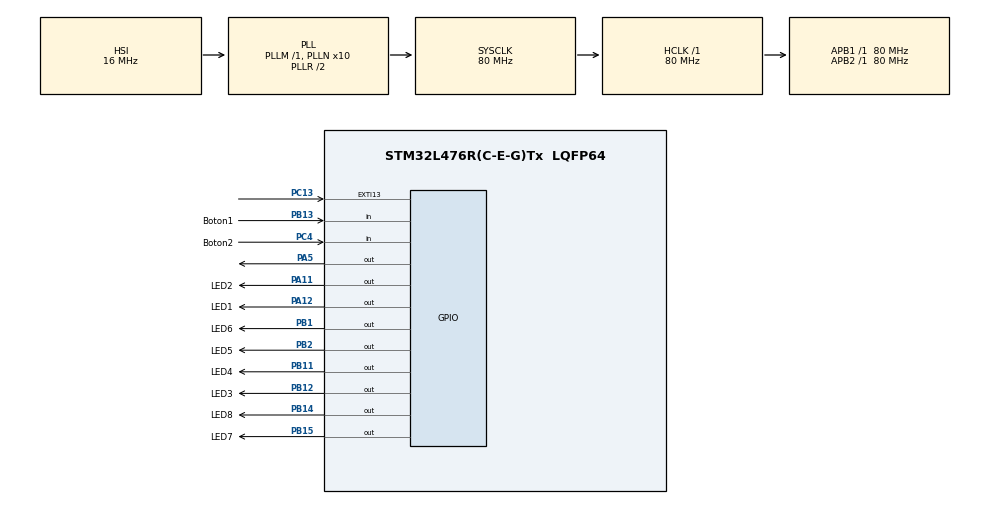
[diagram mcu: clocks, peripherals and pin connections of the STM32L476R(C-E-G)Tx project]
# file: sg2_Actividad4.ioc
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Mcu.Family=STM32L4
Mcu.Name=STM32L476R(C-E-G)Tx
Mcu.Package=LQFP64
NUCLEO-L476RG.BUTTON=1
NUCLEO-L476RG.LD2=true
NVIC.EXTI15_10_IRQn=true\:0\:0\:false\:false\:true\:true\:true\:true
NVIC.PriorityGroup=NVIC_PRIORITYGROUP_4
PA11.GPIO_Label=LED2
PA11.GPIO_ModeDefaultOutputPP=GPIO_MODE_OUTPUT_PP
PA11.GPIO_PuPd=GPIO_NOPULL
PA11.GPIO_Speed=GPIO_SPEED_FREQ_LOW
PA11.Signal=GPIO_Output
PA12.GPIO_Label=LED1
PA12.Signal=GPIO_Output
PA13\ (JTMS-SWDIO).GPIO_Label=TMS
PA13\ (JTMS-SWDIO).Signal=SYS_JTMS-SWDIO
PA14\ (JTCK-SWCLK).GPIO_Label=TCK
PA14\ (JTCK-SWCLK).Signal=SYS_JTCK-SWCLK
PA2.GPIO_Label=USART_TX
PA2.GPIO_Mode=GPIO_MODE_AF_PP
PA2.GPIO_PuPd=GPIO_NOPULL
PA2.GPIO_Speed=GPIO_SPEED_FREQ_VERY_HIGH
PA2.Signal=USART2_TX
PA3.GPIO_Label=USART_RX
PA3.GPIO_Mode=GPIO_MODE_AF_PP
PA3.GPIO_PuPd=GPIO_NOPULL
PA3.GPIO_Speed=GPIO_SPEED_FREQ_VERY_HIGH
PA3.Signal=USART2_RX
PA5.Signal=GPIO_Output
PB1.GPIO_Label=LED6
PB1.Signal=GPIO_Output
PB11.GPIO_Label=LED4
PB11.Signal=GPIO_Output
PB12.GPIO_Label=LED3
PB12.Signal=GPIO_Output
PB13.GPIO_Label=Boton1
PB13.Signal=GPIO_Input
PB14.GPIO_Label=LED8
PB14.Signal=GPIO_Output
PB15.GPIO_Label=LED7
PB15.Signal=GPIO_Output
PB2.GPIO_Label=LED5
PB2.Signal=GPIO_Output
PB3\ (JTDO-TRACESWO).GPIO_Label=SWO
PB3\ (JTDO-TRACESWO).Signal=SYS_JTDO-SWO
PC13.Signal=GPXTI13
PC14-OSC32_IN\ (PC14).Signal=RCC_OSC32_IN
PC15-OSC32_OUT\ (PC15).Signal=RCC_OSC32_OUT
PC4.GPIO_Label=Boton2
PC4.Signal=GPIO_Input
PH0-OSC_IN\ (PH0).Signal=RCC_OSC_IN
PH1-OSC_OUT\ (PH1).Signal=RCC_OSC_OUT
ProjectManager.HeapSize=0x200
ProjectManager.StackSize=0x400
ProjectManager.TargetToolchain=STM32CubeIDE
RCC.ADCFreq_Value=64000000
RCC.AHBFreq_Value=80000000
RCC.APB1Freq_Value=80000000
RCC.APB1TimFreq_Value=80000000
RCC.APB2Freq_Value=80000000
RCC.APB2TimFreq_Value=80000000
RCC.CortexFreq_Value=80000000
RCC.HCLKFreq_Value=80000000
RCC.HSE_VALUE=8000000
RCC.HSI_VALUE=16000000
RCC.LSE_VALUE=32768
RCC.MSI_VALUE=4000000
RCC.PLLN=10
RCC.PLLSourceVirtual=RCC_PLLSOURCE_HSI
RCC.PREFETCH_ENABLE=1
RCC.SYSCLKFreq_VALUE=80000000
RCC.SYSCLKSource=RCC_SYSCLKSOURCE_PLLCLK
RCC.USBFreq_Value=64000000
RCC.VCOOutputFreq_Value=160000000
VP_NUCLEO-L476RG_VS_BSP_COMMON.Mode=COMMON
board=NUCLEO-L476RG

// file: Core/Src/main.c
/* USER CODE BEGIN Header */
/**
  ******************************************************************************
  * @file           : main.c
  * @brief          : Main program body
  ******************************************************************************
  * @attention
  *
  * Copyright (c) 2026 STMicroelectronics.
  * All rights reserved.
  *
  * This software is licensed under terms that can be found in the LICENSE file
  * in the root directory of this software component.
  * If no LICENSE file comes with this software, it is provided AS-IS.
  *
  ******************************************************************************
  */
/* USER CODE END Header */
#include "main.h"
#include "gpio.h"

/* USER CODE BEGIN Includes */
#include "interrupciones.h"
/* USER CODE END Includes */

/* USER CODE BEGIN PD */
#define RETARDO 1
/* USER CODE END PD */

void SystemClock_Config(void);

/* USER CODE BEGIN 0 */
void EscribirPines(char LED){
			HAL_GPIO_WritePin(GPIOA, LED1_Pin, BIT_READ(LED, 0));
		  HAL_GPIO_WritePin(GPIOA, LED2_Pin, BIT_READ(LED, 1));
		  HAL_GPIO_WritePin(GPIOB, LED3_Pin, BIT_READ(LED, 2));
		  HAL_GPIO_WritePin(GPIOB, LED4_Pin, BIT_READ(LED, 3));
		  HAL_GPIO_WritePin(GPIOB, LED5_Pin, BIT_READ(LED, 4));
		  HAL_GPIO_WritePin(GPIOB, LED6_Pin, BIT_READ(LED, 5));
		  HAL_GPIO_WritePin(GPIOB, LED7_Pin, BIT_READ(LED, 6));
		  HAL_GPIO_WritePin(GPIOB, LED8_Pin, BIT_READ(LED, 7));

}

volatile char Partida = 0;

void PartidaToggle(void){
	Partida ^= 1;
}
/* USER CODE END 0 */

int main(void)
{

  /* MCU Configuration--------------------------------------------------------*/

  /* Reset of all peripherals, Initializes the Flash interface and the Systick. */
  HAL_Init();

  /* Configure the system clock */
  SystemClock_Config();

  /* Initialize all configured peripherals */
  MX_GPIO_Init();
  /* USER CODE BEGIN 2 */
  volatile enum _State {Parpadear, ShifterR, ShifterL, TodosParpadean};
  volatile enum _State State, State_n;
  State = Parpadear;
  State_n = Parpadear;

  volatile char Boton1,Boton2,boton_start_previo,boton_start;
  boton_start_previo = 1;
  volatile char LED   = 0b11110000;
  volatile char LED_state = LED;
  EscribirPines(LED);
  /* USER CODE END 2 */

  /* Initialize leds */
  BSP_LED_Init(LED_GREEN);

  /* Initialize USER push-button, will be used to trigger an interrupt each time it's pressed.*/
  BSP_PB_Init(BUTTON_USER, BUTTON_MODE_EXTI);

  /* Infinite loop */
  /* USER CODE BEGIN WHILE */
  while (1)
  {
	  //boton_start = HAL_GPIO_ReadPin(GPIOC, GPIO_PIN_13);
	  Boton1 = HAL_GPIO_ReadPin(Boton1_GPIO_Port, Boton1_Pin);
	  Boton2 = HAL_GPIO_ReadPin(Boton2_GPIO_Port, Boton2_Pin);

	  if(Partida){

		  switch(State){
			  case Parpadear:
				  LED ^= LED_state;
					  break;
			  case ShifterR:
				  if(BIT_READ(LED_state,0)){
					  LED_state = LED_state >> 1u;
					  BIT_SET(LED_state, 7);
				  }else{
					  LED_state = LED_state >> 1u;
					  BIT_CLEAR(LED_state, 7);
				  }
				  LED = LED_state;
					  break;
			  case ShifterL:

				  if(BIT_READ(LED_state,7)){
					  LED_state = LED_state << 1u;
					  BIT_SET(LED_state, 0);
				  }else{
					  LED_state = LED_state << 1u;
					  BIT_CLEAR(LED_state, 0);
				  }
				  LED = LED_state;
					  break;
			  case TodosParpadean:
				  if(LED & 0xFF){
					  LED = 0x00;
				  }else{
					  LED = 0xFF;
				  }
					  break;
			  default:
				  Partida = 0;
				  break;
		  }
		  HAL_Delay(RETARDO);
		  EscribirPines(LED);

		  if(!Boton1 && !Boton2){
			  State_n = Parpadear;
		  }else if(Boton1 && !Boton2){
			  State_n = ShifterR;
		  }else if(!Boton1 && Boton2){
			  State_n = ShifterL;
		  }else if(Boton1 && Boton2){
			  State_n = TodosParpadean;
		  }

		  if(State_n != State){
			  State = State_n;
			  LED = LED_state;
			  EscribirPines(LED_state);
		  }

	  }

	  //if(boton_start_previo && (!boton_start)){
		//  BIT_TOGGLE(Partida, 0);
		  //LED = LED_state;
		  //EscribirPines(LED_state);
	  //}
	  //boton_start_previo = boton_start;

    /* USER CODE END WHILE */

  }
}

void SystemClock_Config(void)
{
  RCC_OscInitTypeDef RCC_OscInitStruct = {0};
  RCC_ClkInitTypeDef RCC_ClkInitStruct = {0};

  /** Configure the main internal regulator output voltage
  */
  if (HAL_PWREx_ControlVoltageScaling(PWR_REGULATOR_VOLTAGE_SCALE1) != HAL_OK)
  {
    Error_Handler();
  }

  /** Initializes the RCC Oscillators according to the specified parameters
  * in the RCC_OscInitTypeDef structure.
  */
  RCC_OscInitStruct.OscillatorType = RCC_OSCILLATORTYPE_HSI;
  RCC_OscInitStruct.HSIState = RCC_HSI_ON;
  RCC_OscInitStruct.HSICalibrationValue = RCC_HSICALIBRATION_DEFAULT;
  RCC_OscInitStruct.PLL.PLLState = RCC_PLL_ON;
  RCC_OscInitStruct.PLL.PLLSource = RCC_PLLSOURCE_HSI;
  RCC_OscInitStruct.PLL.PLLM = 1;
  RCC_OscInitStruct.PLL.PLLN = 10;
  RCC_OscInitStruct.PLL.PLLP = RCC_PLLP_DIV7;
  RCC_OscInitStruct.PLL.PLLQ = RCC_PLLQ_DIV2;
  RCC_OscInitStruct.PLL.PLLR = RCC_PLLR_DIV2;
  if (HAL_RCC_OscConfig(&RCC_OscInitStruct) != HAL_OK)
  {
    Error_Handler();
  }

  /** Initializes the CPU, AHB and APB buses clocks
  */
  RCC_ClkInitStruct.ClockType = RCC_CLOCKTYPE_HCLK|RCC_CLOCKTYPE_SYSCLK
                              |RCC_CLOCKTYPE_PCLK1|RCC_CLOCKTYPE_PCLK2;
  RCC_ClkInitStruct.SYSCLKSource = RCC_SYSCLKSOURCE_PLLCLK;
  RCC_ClkInitStruct.AHBCLKDivider = RCC_SYSCLK_DIV1;
  RCC_ClkInitStruct.APB1CLKDivider = RCC_HCLK_DIV1;
  RCC_ClkInitStruct.APB2CLKDivider = RCC_HCLK_DIV1;

  if (HAL_RCC_ClockConfig(&RCC_ClkInitStruct, FLASH_LATENCY_4) != HAL_OK)
  {
    Error_Handler();
  }
}

void Error_Handler(void)
{
  __disable_irq();
  while (1)
  {
  }
}
